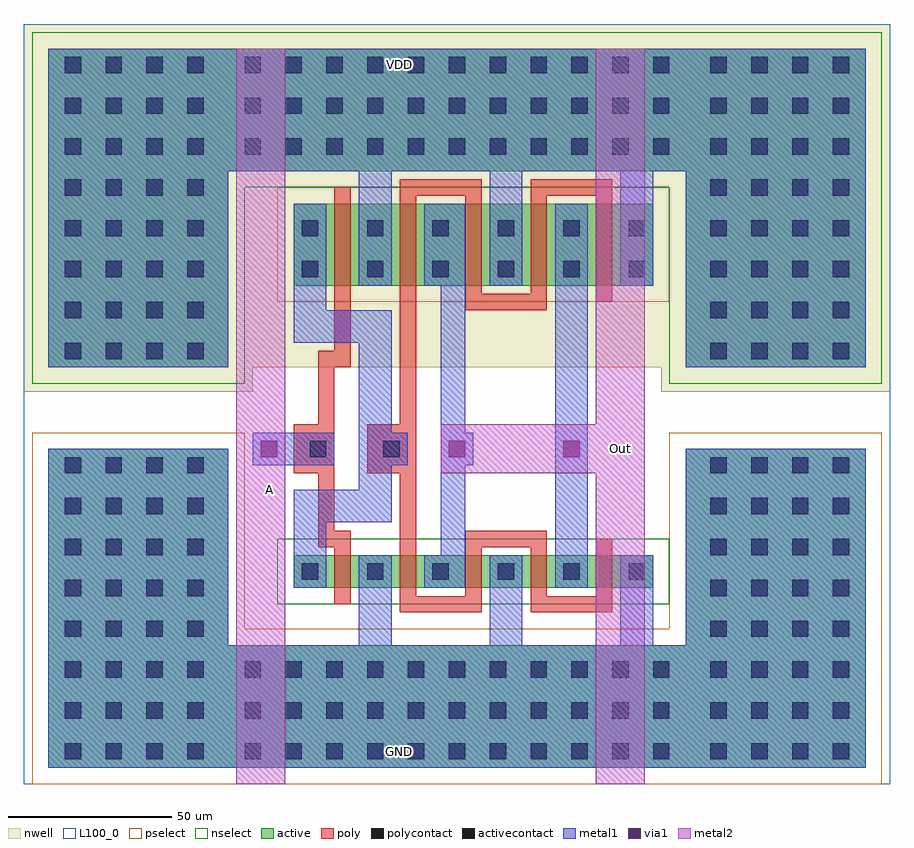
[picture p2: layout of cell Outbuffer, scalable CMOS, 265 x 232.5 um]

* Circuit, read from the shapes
.subckt Outbuffer A GND Out VDD
M1 GND A n1 GND nfet w=10u l=5u
M2 Out n1 GND GND nfet w=10u l=5u m=4
M3 VDD A n1 VDD pfet w=25u l=5u
M4 Out n1 VDD VDD pfet w=25u l=5u m=4
.ends

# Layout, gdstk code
import gdstk
lib = gdstk.Library(unit=1e-6, precision=1e-09)
def R(c, l, rs):  # rectangles x0, y0, x1, y1
    for r in rs: c.add(gdstk.rectangle(r[:2], r[2:], *l))
def A(c, l, x, y, w, h, nx, ny, dx, dy):  # array of equal rectangles
    R(c, l, [(x+i*dx, y+j*dy, x+i*dx+w, y+j*dy+h) for i in range(nx) for j in range(ny)])
nwell = (42, 0)
active = (43, 0)
pselect = (44, 0)
nselect = (45, 0)
poly = (46, 0)
polycontact = (47, 0)
activecontact = (48, 0)
metal1 = (49, 0)
via1 = (50, 0)
metal2 = (51, 0)
L100_0 = (100, 0)

outbuffer = lib.new_cell('Outbuffer')
R(outbuffer, nwell, [(0,122.5,70,130), (195,122.5,265,130), (0,130,265,235)])
R(outbuffer, active, [(7.5,7.5,257.5,45), (7.5,45,62.5,105), (202.5,45,257.5,105), (82.5,62.5,192.5,72.5), (7.5,130,62.5,190), (202.5,130,257.5,190), (82.5,155,192.5,180), (7.5,190,257.5,227.5)])
R(outbuffer, pselect, [(2.5,2.5,262.5,50), (2.5,50,67.5,110), (197.5,50,262.5,110), (77.5,150,197.5,185)])
R(outbuffer, nselect, [(77.5,57.5,197.5,77.5), (2.5,125,67.5,185), (197.5,125,262.5,185), (2.5,185,262.5,232.5)])
R(outbuffer, poly, [(115,55,140,60), (155,55,180,60), (95,57.5,100,75), (115,60,120,97.5), (135,60,140,75), (155,60,160,75), (175,60,180,77.5), (90,75,100,80), (135,75,160,80), (90,80,95,97.5), (82.5,97.5,95,112.5), (105,97.5,120,112.5), (90,112.5,95,130), (115,112.5,120,182.5), (90,130,100,135), (95,135,100,185), (135,147.5,160,152.5), (175,150,180,182.5), (135,152.5,140,182.5), (155,152.5,160,182.5), (115,182.5,140,187.5), (155,182.5,180,187.5)])
R(outbuffer, polycontact, [(87.5,102.5,92.5,107.5), (110,102.5,115,107.5)])
A(outbuffer, activecontact, 12.5, 10, 5, 5, 4, 8, 12.5, 12.5)
A(outbuffer, activecontact, 67.5, 10, 5, 5, 11, 3, 12.5, 12.5)
A(outbuffer, activecontact, 210, 10, 5, 5, 4, 8, 12.5, 12.5)
A(outbuffer, activecontact, 85, 65, 5, 5, 6, 2, 20, 92.5)
A(outbuffer, activecontact, 12.5, 132.5, 5, 5, 4, 8, 12.5, 12.5)
A(outbuffer, activecontact, 210, 132.5, 5, 5, 4, 8, 12.5, 12.5)
A(outbuffer, activecontact, 85, 170, 5, 5, 6, 1, 20, 0)
A(outbuffer, activecontact, 67.5, 195, 5, 5, 11, 3, 12.5, 12.5)
A(outbuffer, metal1, 102.5, 45, 10, 27.5, 3, 1, 40, 0)
A(outbuffer, metal1, 102.5, 155, 10, 35, 3, 1, 40, 0)
R(outbuffer, metal1, [(7.5,7.5,257.5,45), (7.5,45,62.5,105), (202.5,45,257.5,105), (82.5,62.5,92.5,82.5), (122.5,62.5,135,72.5), (162.5,62.5,172.5,180), (127.5,72.5,135,100), (82.5,82.5,112.5,92.5), (102.5,92.5,112.5,100), (70,100,95,110), (102.5,100,117.5,110), (127.5,100,137.5,110), (102.5,110,112.5,137.5), (127.5,110,135,155), (7.5,130,62.5,190), (202.5,130,257.5,190), (82.5,137.5,112.5,147.5), (82.5,147.5,92.5,180), (122.5,155,135,180), (7.5,190,257.5,227.5)])
R(outbuffer, via1, [(72.5,102.5,77.5,107.5), (130,102.5,135,107.5), (165,102.5,170,107.5)])
R(outbuffer, metal2, [(65,2.5,80,227.5), (175,2.5,190,97.5), (127.5,97.5,190,112.5), (175,112.5,190,227.5)])
R(outbuffer, L100_0, [(0,2.5,265,235)])
outbuffer.add(gdstk.Label('GND', (115,12.5), layer=49, texttype=1))
outbuffer.add(gdstk.Label('VDD', (115,222.5), layer=49, texttype=1))
outbuffer.add(gdstk.Label('A', (75,92.5), layer=51, texttype=1))
outbuffer.add(gdstk.Label('Out', (182.5,105), layer=51, texttype=1))

lib.write_gds('Outbuffer.gds')
